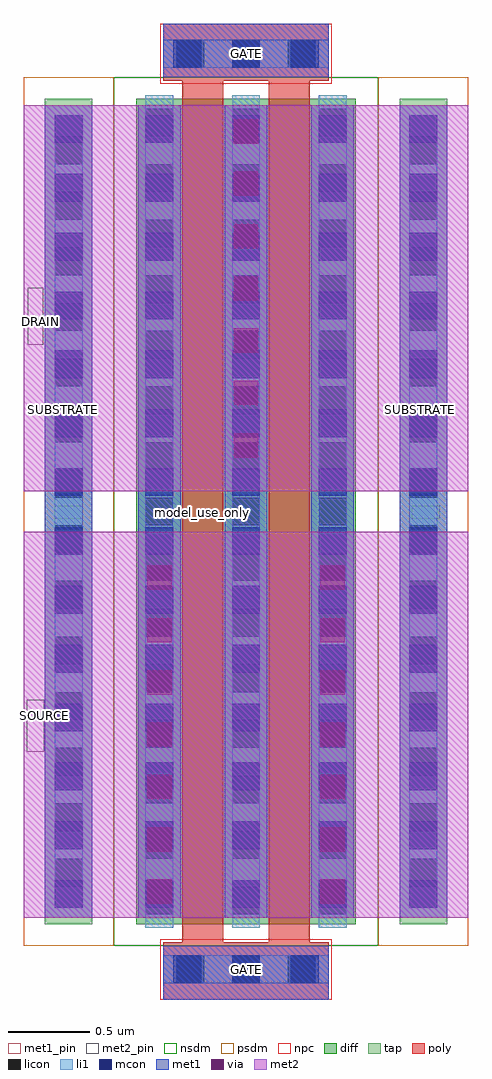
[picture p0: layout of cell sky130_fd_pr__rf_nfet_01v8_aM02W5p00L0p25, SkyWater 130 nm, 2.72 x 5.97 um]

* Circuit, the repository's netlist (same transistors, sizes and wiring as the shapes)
* Copyright 2020 The SkyWater PDK Authors
*
* Licensed under the Apache License, Version 2.0 (the "License");
* you may not use this file except in compliance with the License.
* You may obtain a copy of the License at
*
*     https://www.apache.org/licenses/LICENSE-2.0
*
* Unless required by applicable law or agreed to in writing, software
* distributed under the License is distributed on an "AS IS" BASIS,
* WITHOUT WARRANTIES OR CONDITIONS OF ANY KIND, either express or implied.
* See the License for the specific language governing permissions and
* limitations under the License.
*
* SPDX-License-Identifier: Apache-2.0


.subckt sky130_fd_pr__rf_nfet_01v8_aM02W5p00L0p25 DRAIN GATE SOURCE SUBSTRATE
X0 DRAIN GATE SOURCE SUBSTRATE sky130_fd_pr__nfet_01v8 w=5.05e+06u l=250000u
X1 SOURCE GATE DRAIN SUBSTRATE sky130_fd_pr__nfet_01v8 w=5.05e+06u l=250000u
.ends

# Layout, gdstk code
import gdstk
lib = gdstk.Library(unit=1e-6, precision=1e-09)
def R(c, l, rs):  # rectangles x0, y0, x1, y1
    for r in rs: c.add(gdstk.rectangle(r[:2], r[2:], *l))
def A(c, l, x, y, w, h, nx, ny, dx, dy):  # array of equal rectangles
    R(c, l, [(x+i*dx, y+j*dy, x+i*dx+w, y+j*dy+h) for i in range(nx) for j in range(ny)])
diff = (65, 20)
tap = (65, 44)
poly = (66, 20)
licon = (66, 44)
li1 = (67, 20)
mcon = (67, 44)
met1_pin = (68, 16)
met1 = (68, 20)
via = (68, 44)
met2_pin = (69, 16)
met2 = (69, 20)
nsdm = (93, 44)
psdm = (94, 20)
npc = (95, 20)

sky130_fd_pr__rf_nfet_01 = lib.new_cell('sky130_fd_pr__rf_nfet_01v8_aM02W5p00L0p25')
R(sky130_fd_pr__rf_nfet_01, diff, [(0.74,0.51,2.08,5.56)])
R(sky130_fd_pr__rf_nfet_01, tap, [(0.18,0.51,0.47,5.56), (2.35,0.51,2.64,5.56)])
R(sky130_fd_pr__rf_nfet_01, poly, [(0.905,0.05,1.915,0.4), (1.02,0.4,1.27,5.67), (1.55,0.4,1.8,5.67), (0.905,5.67,1.915,6.02)])
A(sky130_fd_pr__rf_nfet_01, licon, 0.985, 0.15, 0.17, 0.17, 3, 2, 0.34, 5.6)
A(sky130_fd_pr__rf_nfet_01, licon, 0.795, 0.57, 0.17, 0.17, 3, 15, 0.53, 0.34)
A(sky130_fd_pr__rf_nfet_01, licon, 0.24, 0.74, 0.17, 0.17, 1, 14, 0, 0.34)
A(sky130_fd_pr__rf_nfet_01, licon, 2.41, 0.74, 0.17, 0.17, 1, 14, 0, 0.34)
A(sky130_fd_pr__rf_nfet_01, li1, 0.795, 0.49, 0.17, 5.09, 3, 1, 0.53, 0)
A(sky130_fd_pr__rf_nfet_01, li1, 0.795, 1.69, 0.17, 2.69, 3, 1, 0.53, 0)
R(sky130_fd_pr__rf_nfet_01, li1, [(0.905,0.15,1.915,0.32), (0.965,0.15,1.855,0.32), (0.24,0.61,0.41,5.46), (2.41,0.61,2.58,5.46), (0.24,0.66,0.41,5.41), (2.41,0.66,2.58,5.41), (0.24,1.68,0.41,4.39), (2.41,1.68,2.58,4.39), (0.905,5.75,1.915,5.92), (0.965,5.75,1.855,5.92)])
A(sky130_fd_pr__rf_nfet_01, mcon, 0.965, 0.15, 0.17, 0.17, 3, 2, 0.36, 5.6)
A(sky130_fd_pr__rf_nfet_01, mcon, 0.24, 0.61, 0.17, 0.17, 1, 14, 0, 0.36)
A(sky130_fd_pr__rf_nfet_01, mcon, 0.795, 0.61, 0.17, 0.17, 3, 14, 0.53, 0.36)
A(sky130_fd_pr__rf_nfet_01, mcon, 2.41, 0.61, 0.17, 0.17, 1, 14, 0, 0.36)
R(sky130_fd_pr__rf_nfet_01, met1_pin, [(0.905,0.05,1.915,0.38), (0.24,2.99,0.41,3.07), (2.425,2.99,2.595,3.07), (0.905,5.69,1.915,6.02)])
A(sky130_fd_pr__rf_nfet_01, met1, 0.75, 0.55, 0.26, 4.97, 3, 1, 0.53, 0)
R(sky130_fd_pr__rf_nfet_01, met1, [(0.905,0.05,1.915,0.38), (0.18,0.55,0.47,5.52), (0.75,0.55,1.01,2.79), (1.81,0.55,2.07,2.79), (2.35,0.55,2.64,5.52), (1.28,3.28,1.54,5.52), (0.905,5.69,1.915,6.02)])
A(sky130_fd_pr__rf_nfet_01, via, 0.805, 0.635, 0.15, 0.15, 1, 7, 0, 0.32)
A(sky130_fd_pr__rf_nfet_01, via, 1.865, 0.635, 0.15, 0.15, 1, 7, 0, 0.32)
A(sky130_fd_pr__rf_nfet_01, via, 1.335, 3.365, 0.15, 0.15, 1, 7, 0, 0.32)
R(sky130_fd_pr__rf_nfet_01, met2_pin, [(0.07,1.565,0.175,1.885), (0.075,4.055,0.17,4.405)])
R(sky130_fd_pr__rf_nfet_01, met2, [(0.05,0.55,2.77,2.91), (0.75,0.55,1.01,2.79), (1.81,0.55,2.07,2.79), (0.05,3.16,2.77,5.52), (1.28,3.28,1.54,5.52)])
R(sky130_fd_pr__rf_nfet_01, nsdm, [(0.6,0.38,2.22,5.69)])
R(sky130_fd_pr__rf_nfet_01, psdm, [(0.05,0.38,0.6,5.69), (2.22,0.38,2.77,5.69)])
R(sky130_fd_pr__rf_nfet_01, npc, [(0.885,0.05,1.935,0.42), (0.885,5.65,1.935,6.02)])
sky130_fd_pr__rf_nfet_01.add(gdstk.Label('model_use_only', (1.145,3.03), layer=66, texttype=83))
sky130_fd_pr__rf_nfet_01.add(gdstk.Label('model_use_only', (1.675,3.03), layer=66, texttype=83))
sky130_fd_pr__rf_nfet_01.add(gdstk.Label('SOURCE', (0.175,1.785), layer=69, texttype=5))
sky130_fd_pr__rf_nfet_01.add(gdstk.Label('DRAIN', (0.155,4.2), layer=69, texttype=5))
sky130_fd_pr__rf_nfet_01.add(gdstk.Label('GATE', (1.41,5.835), layer=68, texttype=5))
sky130_fd_pr__rf_nfet_01.add(gdstk.Label('GATE', (1.41,0.235), layer=68, texttype=5))
sky130_fd_pr__rf_nfet_01.add(gdstk.Label('SUBSTRATE', (2.48,3.66), layer=68, texttype=5))
sky130_fd_pr__rf_nfet_01.add(gdstk.Label('SUBSTRATE', (0.295,3.66), layer=68, texttype=5))

lib.write_gds('sky130_fd_pr__rf_nfet_01v8_aM02W5p00L0p25.gds')
